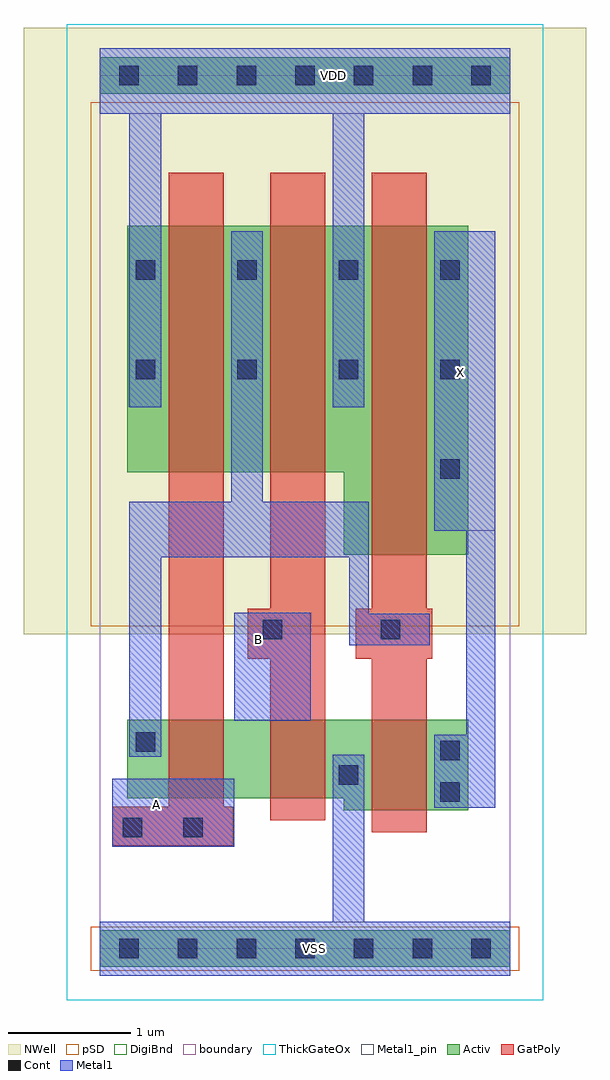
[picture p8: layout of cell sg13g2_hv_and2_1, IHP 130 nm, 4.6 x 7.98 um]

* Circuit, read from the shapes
.subckt sg13g2_hv_and2_1 A B VDD VSS X
XM1 n1 A n2 VSS sg13_hv_nmos w=0.64u l=0.45u
XM2 VSS B n1 VSS sg13_hv_nmos w=0.64u l=0.45u
XM3 X n2 VSS VSS sg13_hv_nmos w=0.74u l=0.45u
XM4 n2 A VDD VDD sg13_hv_pmos w=2.015u l=0.45u
XM5 VDD B n2 VDD sg13_hv_pmos w=2.015u l=0.45u
XM6 X n2 VDD VDD sg13_hv_pmos w=2.69u l=0.45u
.ends

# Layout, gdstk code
import gdstk
lib = gdstk.Library(unit=1e-6, precision=1e-09)
def R(c, l, rs):  # rectangles x0, y0, x1, y1
    for r in rs: c.add(gdstk.rectangle(r[:2], r[2:], *l))
def A(c, l, x, y, w, h, nx, ny, dx, dy):  # array of equal rectangles
    R(c, l, [(x+i*dx, y+j*dy, x+i*dx+w, y+j*dy+h) for i in range(nx) for j in range(ny)])
def P(c, l, *ps):  # polygons
    for p in ps: c.add(gdstk.Polygon(p, *l))
Activ = (1, 0)
GatPoly = (5, 0)
Cont = (6, 0)
Metal1 = (8, 0)
Metal1_pin = (8, 2)
pSD = (14, 0)
DigiBnd = (16, 0)
NWell = (31, 0)
ThickGateOx = (44, 0)
boundary = (189, 4)

sg13g2_hv_and2_1 = lib.new_cell('sg13g2_hv_and2_1')
R(sg13g2_hv_and2_1, Activ, [(0,-0.15,3.36,0.15), (0,6.99,3.36,7.29)])
P(sg13g2_hv_and2_1, Activ, [(1.995,1.13),(1.995,1.23),(0.225,1.23),(0.225,1.87),(3.015,1.87),(3.015,1.13)],
  [(1.995,3.22),(1.995,3.895),(0.225,3.895),(0.225,5.91),(3.015,5.91),(3.015,3.22)])
P(sg13g2_hv_and2_1, GatPoly, [(2.225,0.95),(2.225,2.37),(2.095,2.37),(2.095,2.78),(2.225,2.78),(2.225,6.345),(2.675,6.345),(2.675,2.78),(2.72,2.78),(2.72,2.37),(2.675,2.37),(2.675,0.95)],
  [(0.105,0.84),(0.105,1.16),(0.565,1.16),(0.565,6.345),(1.015,6.345),(1.015,1.16),(1.095,1.16),(1.095,0.84)],
  [(1.395,1.05),(1.395,2.37),(1.21,2.37),(1.21,2.78),(1.395,2.78),(1.395,6.345),(1.845,6.345),(1.845,1.05)])
A(sg13g2_hv_and2_1, Cont, 0.16, -0.08, 0.16, 0.16, 7, 2, 0.48, 7.14)
A(sg13g2_hv_and2_1, Cont, 0.295, 4.655, 0.16, 0.16, 4, 2, 0.83, 0.815)
R(sg13g2_hv_and2_1, Cont, [(0.19,0.91,0.35,1.07), (0.685,0.91,0.845,1.07), (2.785,1.2,2.945,1.36), (1.955,1.34,2.115,1.5), (2.785,1.54,2.945,1.7), (0.295,1.61,0.455,1.77), (1.335,2.53,1.495,2.69), (2.3,2.53,2.46,2.69), (2.785,3.84,2.945,4)])
R(sg13g2_hv_and2_1, Metal1, [(0.105,0.835,1.1,1.39), (1.1,1.865,1.725,2.745)])
P(sg13g2_hv_and2_1, Metal1, [(0.245,1.57),(0.245,3.655),(1.075,3.655),(1.075,5.865),(1.335,5.865),(1.335,3.655),(2.2,3.655),(2.2,2.74),(2.7,2.74),(2.7,2.48),(2.04,2.48),(2.04,3.2),(0.505,3.2),(0.505,1.57)],
  [(2.735,1.15),(2.735,1.75),(3,1.75),(3,3.415),(2.735,3.415),(2.735,5.865),(3.235,5.865),(3.235,1.15)],
  [(0.245,4.425),(0.245,6.825),(0,6.825),(0,7.36),(3.36,7.36),(3.36,6.825),(2.165,6.825),(2.165,4.425),(1.905,4.425),(1.905,6.825),(0.505,6.825),(0.505,4.425)],
  [(0,-0.22),(0,0.22),(1.905,0.22),(1.905,1.585),(2.165,1.585),(2.165,0.22),(3.36,0.22),(3.36,-0.22)])
R(sg13g2_hv_and2_1, Metal1_pin, [(0,-0.22,3.36,0.22), (0.105,0.835,1.1,1.39), (1.1,1.865,1.725,2.745), (2.735,3.415,3.235,5.865), (0,6.825,3.36,7.36)])
R(sg13g2_hv_and2_1, pSD, [(-0.07,-0.18,3.43,0.18), (-0.07,2.635,0.55,6.92), (-0.07,2.635,3.43,6.92)])
R(sg13g2_hv_and2_1, DigiBnd, [(0,0,3.36,7.14)])
R(sg13g2_hv_and2_1, NWell, [(-0.62,2.57,3.98,7.53)])
R(sg13g2_hv_and2_1, ThickGateOx, [(-0.27,-0.42,3.63,7.56)])
R(sg13g2_hv_and2_1, boundary, [(0,0,3.36,7.14)])
sg13g2_hv_and2_1.add(gdstk.Label('X', (2.955,4.71), layer=8, texttype=25))
sg13g2_hv_and2_1.add(gdstk.Label('VSS', (1.76,0), layer=8, texttype=25))
sg13g2_hv_and2_1.add(gdstk.Label('VDD', (1.915,7.14), layer=8, texttype=25))
sg13g2_hv_and2_1.add(gdstk.Label('B', (1.3,2.53), layer=8, texttype=25))
sg13g2_hv_and2_1.add(gdstk.Label('A', (0.465,1.175), layer=8, texttype=25))

lib.write_gds('sg13g2_hv_and2_1.gds')
